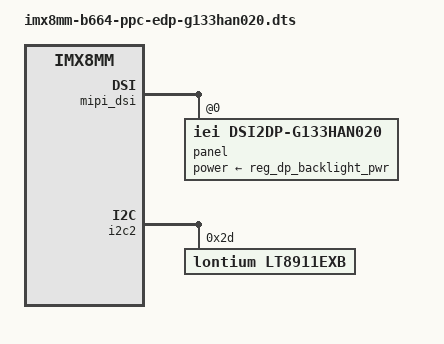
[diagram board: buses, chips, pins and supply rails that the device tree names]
/*
 * Copyright 2022 IEI-World Corp.
 * Copyright 2018 NXP
 *
 * Author: Wig Cheng <wigcheng@ieiworld.com>
 *
 * This program is free software; you can redistribute it and/or
 * modify it under the terms of the GNU General Public License
 * as published by the Free Software Foundation; either version 2
 * of the License, or (at your option) any later version.
 *
 * This program is distributed in the hope that it will be useful,
 * but WITHOUT ANY WARRANTY; without even the implied warranty of
 * MERCHANTABILITY or FITNESS FOR A PARTICULAR PURPOSE.  See the
 * GNU General Public License for more details.
 */

/dts-v1/;

#include "imx8mm-b664-ppc.dts"


&mipi_dsi {
	status = "okay";

	panel@0 {
		reg = <0>;
		compatible = "iei,dsi2dp-g133han020";
		power-supply = <&reg_dp_backlight_pwr>;

		dsi,flags = <0x0007>;
		dsi,format = <0>;
		dsi,lanes = <4>;
		panel-width-mm  = <217>;
		panel-height-mm = <135>;
		bus-format = <0x100a>;  /* MEDIA_BUS_FMT_RGB888_1X24 */
		bus-flags = <1>;
		refresh-rate = <60>;
		rotate = <0>;

		panel-timing {
			clock-frequency = <165000000>;
			hactive = <1920>;
			vactive = <1080>;
			hfront-porch = <85>;
			hsync-len = <20>;
			hback-porch = <85>;
			vfront-porch = <70>;
			vsync-len = <8>;
			vback-porch = <70>;
			/* flags = DISPLAY_FLAGS_HSYNC_HIGH | DISPLAY_FLAGS_VSYNC_HIGH */
			vsync-active = <1>;
			hsync-active = <1>;
		};
	};
};

&i2c2 {
	lt8911exb@2d {
		compatible = "lontium,lt8911exb";
		reg = <0x2d>;

		lontium,pclk = <152000000>;
		lontium,hact = <1920>;
		lontium,vact = <1080>;
		lontium,hbp = <85>;
		lontium,hfp = <85>;
		lontium,vbp = <70>;
		lontium,vfp = <70>;
		lontium,hs = <20>;
		lontium,vs = <8>;

		lontium,mipi_lane = <4>;
		lontium,lane_cnt = <2>;
		lontium,color = <1>; //Color Depth 0:6bit 1:8bit
		lontium,test = <0>;

		status = "okay";
	};
};
